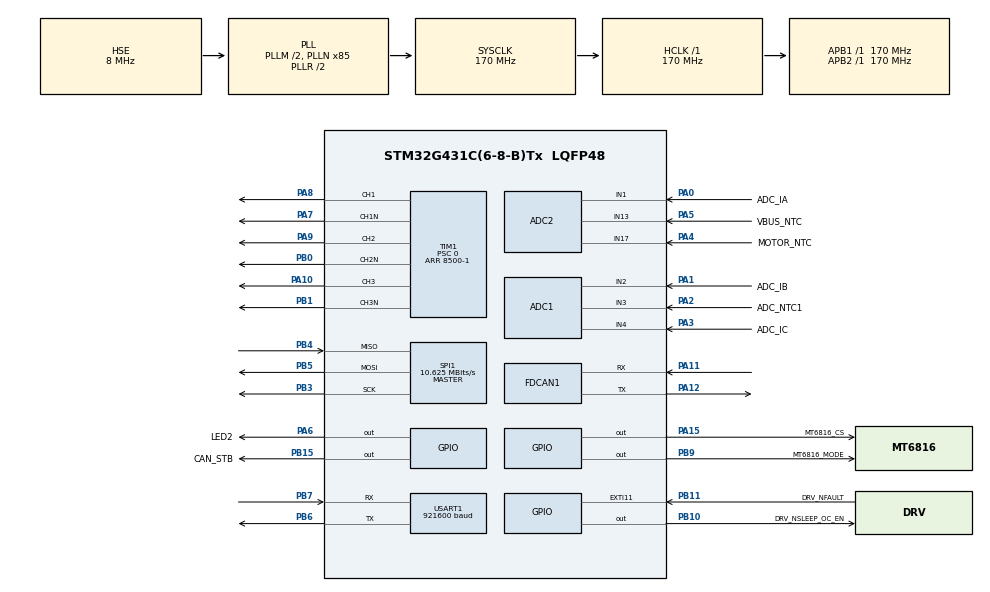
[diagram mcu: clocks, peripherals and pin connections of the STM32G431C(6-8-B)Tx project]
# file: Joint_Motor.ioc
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ADC1.Channel-0\#ChannelRegularConversion=ADC_CHANNEL_3
ADC1.Channel-3\#ChannelRegularConversion=ADC_CHANNEL_4
ADC1.ClockPrescaler=ADC_CLOCK_SYNC_PCLK_DIV4
ADC1.ContinuousConvMode=DISABLE
ADC1.DMAAccessModeView=ENABLE
ADC1.DMAContinuousRequests=ENABLE
ADC1.EOCSelection=ADC_EOC_SEQ_CONV
ADC1.EnableInjectedConversion=ENABLE
ADC1.ExternalTrigConv=ADC_EXTERNALTRIG_T1_TRGO2
ADC1.ExternalTrigConvEdge=ADC_EXTERNALTRIGCONVEDGE_RISING
ADC1.ExternalTrigInjecConv=ADC_EXTERNALTRIGINJEC_T1_CC4
ADC1.ExternalTrigInjecConvEdge=ADC_EXTERNALTRIGINJECCONV_EDGE_FALLING
ADC1.InjNumberOfConversion=2
ADC1.InjectedChannel-1\#ChannelInjectedConversion=ADC_CHANNEL_2
ADC1.InjectedChannel-4\#ChannelInjectedConversion=ADC_CHANNEL_4
ADC1.InjectedOffsetNumber-1\#ChannelInjectedConversion=ADC_OFFSET_NONE
ADC1.InjectedOffsetNumber-4\#ChannelInjectedConversion=ADC_OFFSET_NONE
ADC1.InjectedRank-1\#ChannelInjectedConversion=1
ADC1.InjectedRank-4\#ChannelInjectedConversion=2
ADC1.InjectedSamplingTime-1\#ChannelInjectedConversion=ADC_SAMPLETIME_2CYCLES_5
ADC1.InjectedSamplingTime-4\#ChannelInjectedConversion=ADC_SAMPLETIME_2CYCLES_5
ADC1.Mode=ADC_DUALMODE_REGSIMULT_INJECSIMULT
ADC1.NbrOfConversion=2
ADC1.NbrOfConversionFlag=1
ADC1.OffsetNumber-0\#ChannelRegularConversion=ADC_OFFSET_NONE
ADC1.OffsetNumber-3\#ChannelRegularConversion=ADC_OFFSET_NONE
ADC1.Rank-0\#ChannelRegularConversion=1
ADC1.Rank-3\#ChannelRegularConversion=2
ADC1.Rank2_Channel=ADC_CHANNEL_4
ADC1.SamplingTime-0\#ChannelRegularConversion=ADC_SAMPLETIME_2CYCLES_5
ADC1.SamplingTime-3\#ChannelRegularConversion=ADC_SAMPLETIME_2CYCLES_5
ADC1.master=1
ADC2.Channel-0\#ChannelRegularConversion=ADC_CHANNEL_17
ADC2.Channel-1\#ChannelRegularConversion=ADC_CHANNEL_13
ADC2.ClockPrescaler=ADC_CLOCK_SYNC_PCLK_DIV4
ADC2.DMAAccessModeView=ENABLE
ADC2.DMAContinuousRequests=DISABLE
ADC2.EnableInjectedConversion=ENABLE
ADC2.InjNumberOfConversion=1
ADC2.InjectedChannel-2\#ChannelInjectedConversion=ADC_CHANNEL_1
ADC2.InjectedOffsetNumber-2\#ChannelInjectedConversion=ADC_OFFSET_NONE
ADC2.InjectedRank-2\#ChannelInjectedConversion=1
ADC2.InjectedSamplingTime-2\#ChannelInjectedConversion=ADC_SAMPLETIME_2CYCLES_5
ADC2.LowPowerAutoWait=DISABLE
ADC2.Mode=ADC_DUALMODE_REGSIMULT_INJECSIMULT
ADC2.NbrOfConversion=2
ADC2.NbrOfConversionFlag=1
ADC2.OffsetNumber-0\#ChannelRegularConversion=ADC_OFFSET_NONE
ADC2.OffsetNumber-1\#ChannelRegularConversion=ADC_OFFSET_NONE
ADC2.OversamplingMode=DISABLE
ADC2.Rank-0\#ChannelRegularConversion=1
ADC2.Rank-1\#ChannelRegularConversion=2
ADC2.Rank1_Channel=ADC_CHANNEL_1
ADC2.SamplingTime-0\#ChannelRegularConversion=ADC_SAMPLETIME_2CYCLES_5
ADC2.SamplingTime-1\#ChannelRegularConversion=ADC_SAMPLETIME_2CYCLES_5
Dma.ADC1.0.Direction=DMA_PERIPH_TO_MEMORY
Dma.ADC1.0.EventEnable=DISABLE
Dma.ADC1.0.Instance=DMA1_Channel1
Dma.ADC1.0.MemDataAlignment=DMA_MDATAALIGN_WORD
Dma.ADC1.0.MemInc=DMA_MINC_ENABLE
Dma.ADC1.0.Mode=DMA_CIRCULAR
Dma.ADC1.0.PeriphDataAlignment=DMA_PDATAALIGN_WORD
Dma.ADC1.0.PeriphInc=DMA_PINC_DISABLE
Dma.ADC1.0.Polarity=HAL_DMAMUX_REQ_GEN_RISING
Dma.ADC1.0.Priority=DMA_PRIORITY_LOW
Dma.ADC1.0.RequestNumber=1
Dma.ADC1.0.SignalID=NONE
Dma.ADC1.0.SyncEnable=DISABLE
Dma.ADC1.0.SyncPolarity=HAL_DMAMUX_SYNC_NO_EVENT
Dma.ADC1.0.SyncRequestNumber=1
Dma.ADC1.0.SyncSignalID=NONE
Dma.Request0=ADC1
Dma.Request1=USART1_TX
Dma.USART1_TX.1.Direction=DMA_MEMORY_TO_PERIPH
Dma.USART1_TX.1.EventEnable=DISABLE
Dma.USART1_TX.1.Instance=DMA2_Channel1
Dma.USART1_TX.1.MemDataAlignment=DMA_MDATAALIGN_BYTE
Dma.USART1_TX.1.MemInc=DMA_MINC_ENABLE
Dma.USART1_TX.1.Mode=DMA_NORMAL
Dma.USART1_TX.1.PeriphDataAlignment=DMA_PDATAALIGN_BYTE
Dma.USART1_TX.1.PeriphInc=DMA_PINC_DISABLE
Dma.USART1_TX.1.Polarity=HAL_DMAMUX_REQ_GEN_RISING
Dma.USART1_TX.1.Priority=DMA_PRIORITY_LOW
Dma.USART1_TX.1.RequestNumber=1
Dma.USART1_TX.1.SignalID=NONE
Dma.USART1_TX.1.SyncEnable=DISABLE
Dma.USART1_TX.1.SyncPolarity=HAL_DMAMUX_SYNC_NO_EVENT
Dma.USART1_TX.1.SyncRequestNumber=1
Dma.USART1_TX.1.SyncSignalID=NONE
FDCAN1.CalculateBaudRateNominal=3541666
FDCAN1.CalculateTimeBitNominal=282
FDCAN1.CalculateTimeQuantumNominal=94.11764705882354
Mcu.Family=STM32G4
Mcu.Name=STM32G431C(6-8-B)Tx
Mcu.Package=LQFP48
NVIC.ADC1_2_IRQn=true\:1\:0\:true\:false\:true\:true\:true\:true
NVIC.DMA2_Channel1_IRQn=true\:2\:0\:true\:false\:true\:true\:true\:true
NVIC.EXTI15_10_IRQn=true\:0\:0\:false\:false\:true\:true\:true\:true
NVIC.PriorityGroup=NVIC_PRIORITYGROUP_4
NVIC.USART1_IRQn=true\:2\:0\:true\:false\:true\:true\:true\:true
PA0.GPIO_Label=ADC_IA
PA0.Mode=IN1-Single-Ended
PA0.Signal=ADC2_IN1
PA1.GPIO_Label=ADC_IB
PA1.Mode=IN2-Single-Ended
PA1.Signal=ADC1_IN2
PA10.Signal=S_TIM1_CH3
PA11.Mode=FDCAN_Activate
PA11.Signal=FDCAN1_RX
PA12.Mode=FDCAN_Activate
PA12.Signal=FDCAN1_TX
PA13.Mode=Serial_Wire
PA13.Signal=SYS_JTMS-SWDIO
PA14.Mode=Serial_Wire
PA14.Signal=SYS_JTCK-SWCLK
PA15.GPIO_Label=MT6816_CS
PA15.Signal=GPIO_Output
PA2.GPIO_Label=ADC_NTC1
PA2.Mode=IN3-Single-Ended
PA2.Signal=ADC1_IN3
PA3.GPIO_Label=ADC_IC
PA3.Mode=IN4-Single-Ended
PA3.Signal=ADC1_IN4
PA4.GPIO_Label=MOTOR_NTC
PA4.Mode=IN17-Single-Ended
PA4.Signal=ADC2_IN17
PA5.GPIO_Label=VBUS_NTC
PA5.Mode=IN13-Single-Ended
PA5.Signal=ADC2_IN13
PA6.GPIO_Label=LED2
PA6.Signal=GPIO_Output
PA7.Mode=PWM Generation1 CH1 CH1N
PA7.Signal=TIM1_CH1N
PA8.Signal=S_TIM1_CH1
PA9.Signal=S_TIM1_CH2
PB0.Mode=PWM Generation2 CH2 CH2N
PB0.Signal=TIM1_CH2N
PB1.Mode=PWM Generation3 CH3 CH3N
PB1.Signal=TIM1_CH3N
PB10.GPIO_Label=DRV_NSLEEP_OC_EN
PB10.Signal=GPIO_Output
PB11.GPIO_Label=DRV_NFAULT
PB11.GPIO_ModeDefaultEXTI=GPIO_MODE_IT_FALLING
PB11.Signal=GPXTI11
PB15.GPIO_Label=CAN_STB
PB15.Signal=GPIO_Output
PB3.Mode=Full_Duplex_Master
PB3.Signal=SPI1_SCK
PB4.Mode=Full_Duplex_Master
PB4.Signal=SPI1_MISO
PB5.Mode=Full_Duplex_Master
PB5.Signal=SPI1_MOSI
PB6.Mode=Asynchronous
PB6.Signal=USART1_TX
PB7.Mode=Asynchronous
PB7.Signal=USART1_RX
PB9.GPIO_Label=MT6816_MODE
PB9.Signal=GPIO_Output
PF0-OSC_IN.Mode=HSE-External-Oscillator
PF0-OSC_IN.Signal=RCC_OSC_IN
PF1-OSC_OUT.Mode=HSE-External-Oscillator
PF1-OSC_OUT.Signal=RCC_OSC_OUT
ProjectManager.HeapSize=0x200
ProjectManager.StackSize=0x400
ProjectManager.TargetToolchain=CMake
RCC.ADC12Freq_Value=170000000
RCC.AHBFreq_Value=170000000
RCC.APB1Freq_Value=170000000
RCC.APB1TimFreq_Value=170000000
RCC.APB2Freq_Value=170000000
RCC.APB2TimFreq_Value=170000000
RCC.CortexFreq_Value=170000000
RCC.EXTERNAL_CLOCK_VALUE=12288000
RCC.HCLKFreq_Value=170000000
RCC.HSE_VALUE=8000000
RCC.HSI48_VALUE=48000000
RCC.HSI_VALUE=16000000
RCC.LSE_VALUE=32768
RCC.PLLM=RCC_PLLM_DIV2
RCC.PLLN=85
RCC.PLLSourceVirtual=RCC_PLLSOURCE_HSE
RCC.SYSCLKFreq_VALUE=170000000
RCC.SYSCLKSource=RCC_SYSCLKSOURCE_PLLCLK
RCC.USBFreq_Value=170000000
RCC.VCOOutputFreq_Value=340000000
SH.S_TIM1_CH1.0=TIM1_CH1,PWM Generation1 CH1 CH1N
SH.S_TIM1_CH2.0=TIM1_CH2,PWM Generation2 CH2 CH2N
SH.S_TIM1_CH3.0=TIM1_CH3,PWM Generation3 CH3 CH3N
SPI1.BaudRatePrescaler=SPI_BAUDRATEPRESCALER_16
SPI1.CLKPhase=SPI_PHASE_2EDGE
SPI1.CLKPolarity=SPI_POLARITY_HIGH
SPI1.CalculateBaudRate=10.625 MBits/s
SPI1.DataSize=SPI_DATASIZE_8BIT
SPI1.Direction=SPI_DIRECTION_2LINES
SPI1.Mode=SPI_MODE_MASTER
SPI1.TIMode=SPI_TIMODE_DISABLE
SPI1.VirtualType=VM_MASTER
TIM1.AsymmetricalDeadTime=DISABLE
TIM1.AutoReloadPreload=TIM_AUTORELOAD_PRELOAD_DISABLE
TIM1.AutomaticOutput=TIM_AUTOMATICOUTPUT_ENABLE
TIM1.Break2Filter=0
TIM1.Break2Polarity=TIM_BREAK2POLARITY_HIGH
TIM1.Break2State=TIM_BREAK2_DISABLE
TIM1.Channel-PWM\ Generation1\ CH1\ CH1N=TIM_CHANNEL_1
TIM1.Channel-PWM\ Generation2\ CH2\ CH2N=TIM_CHANNEL_2
TIM1.Channel-PWM\ Generation3\ CH3\ CH3N=TIM_CHANNEL_3
TIM1.Channel-PWM\ Generation4\ No\ Output=TIM_CHANNEL_4
TIM1.Channel-PWM\ Generation5\ No\ Output=TIM_CHANNEL_5
TIM1.CounterMode=TIM_COUNTERMODE_CENTERALIGNED3
TIM1.DeadTime=34-1
TIM1.DeadTimePreload=DISABLE
TIM1.LockLevel=TIM_LOCKLEVEL_OFF
TIM1.OCNPolarity_1=TIM_OCNPOLARITY_HIGH
TIM1.OCNPolarity_2=TIM_OCNPOLARITY_HIGH
TIM1.OCNPolarity_3=TIM_OCNPOLARITY_HIGH
TIM1.OffStateIDLEMode=TIM_OSSI_DISABLE
TIM1.OffStateRunMode=TIM_OSSR_DISABLE
TIM1.PeriodNoDither=8500-1
TIM1.Prescaler=0
TIM1.PulseNoDither_1=0
TIM1.PulseNoDither_2=0
TIM1.PulseNoDither_3=0
TIM1.PulseNoDither_4=8500-40
TIM1.PulseNoDither_5=1
TIM1.TIM_MasterOutputTrigger=TIM_TRGO_UPDATE
TIM1.TIM_MasterOutputTrigger2=TIM_TRGO2_OC5REF
USART1.BaudRate=921600
USART1.VirtualMode-Asynchronous=VM_ASYNC
VP_SYS_VS_DBSignals.Mode=DisableDeadBatterySignals
VP_TIM1_VS_ClockSourceINT.Mode=Internal
VP_TIM1_VS_no_output4.Mode=PWM Generation4 No Output
VP_TIM1_VS_no_output5.Mode=PWM Generation5 No Output
board=custom

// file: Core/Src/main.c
/* USER CODE BEGIN Header */
/**
  ******************************************************************************
  * @file           : main.c
  * @brief          : Main program body
  ******************************************************************************
  * @attention
  *
  * Copyright (c) 2026 STMicroelectronics.
  * All rights reserved.
  *
  * This software is licensed under terms that can be found in the LICENSE file
  * in the root directory of this software component.
  * If no LICENSE file comes with this software, it is provided AS-IS.
  *
  ******************************************************************************
  */
/* USER CODE END Header */
#include "main.h"
#include "adc.h"
#include "dma.h"
#include "fdcan.h"
#include "spi.h"
#include "tim.h"
#include "usart.h"
#include "gpio.h"

/* USER CODE BEGIN Includes */
#include "vofa.h"
#include "encoder.h"
#include "adc_sampling.h"
/* USER CODE END Includes */

/* USER CODE BEGIN PV */

static uint32_t vofa_last_tick = 0U;

/* USER CODE END PV */

void SystemClock_Config(void);

int main(void)
{

  /* MCU Configuration--------------------------------------------------------*/

  /* Reset of all peripherals, Initializes the Flash interface and the Systick. */
  HAL_Init();

  /* Configure the system clock */
  SystemClock_Config();

  /* Initialize all configured peripherals */
  MX_GPIO_Init();
  MX_DMA_Init();
  MX_ADC1_Init();
  MX_ADC2_Init();
  MX_FDCAN1_Init();
  MX_SPI1_Init();
  MX_TIM1_Init();
  MX_USART1_UART_Init();
  /* USER CODE BEGIN 2 */

  /* 保持功率驱动关闭 */
  HAL_GPIO_WritePin(DRV_NSLEEP_OC_EN_GPIO_Port,
                    DRV_NSLEEP_OC_EN_Pin,
                    GPIO_PIN_RESET);

  /* 编码器暂不通信，片选保持无效 */
  HAL_GPIO_WritePin(MT6816_CS_GPIO_Port,
                    MT6816_CS_Pin,
                    GPIO_PIN_SET);

  /* 按教程要求选择SPI功能 */
  HAL_GPIO_WritePin(MT6816_MODE_GPIO_Port,
                    MT6816_MODE_Pin,
                    GPIO_PIN_SET);

  /* 给编码器留出上电准备时间 */
  HAL_Delay(20);

  if (ADC_Sampling_Start() != HAL_OK)
  {
      Error_Handler();
  }
  /* USER CODE END 2 */

  /* Infinite loop */
  while (1)
  {

    /* USER CODE BEGIN 3 */
    uint32_t now = HAL_GetTick();

    if ((uint32_t)(now - vofa_last_tick) >= 10U)
    {
        vofa_last_tick = now;

        ADC_CurrentData_t sample;
        ADC_Sampling_GetCurrent(&sample);

        float data[4] =
        {
            sample.u_amp,
            sample.v_amp,
            sample.w_amp,
            (float)sample.ready
        };

        (void)VOFA_SendFloatArray_DMA(data, 4U);
    }
  }
  /* USER CODE END 3 */
}

void SystemClock_Config(void)
{
  RCC_OscInitTypeDef RCC_OscInitStruct = {0};
  RCC_ClkInitTypeDef RCC_ClkInitStruct = {0};

  /** Configure the main internal regulator output voltage
  */
  HAL_PWREx_ControlVoltageScaling(PWR_REGULATOR_VOLTAGE_SCALE1_BOOST);

  /** Initializes the RCC Oscillators according to the specified parameters
  * in the RCC_OscInitTypeDef structure.
  */
  RCC_OscInitStruct.OscillatorType = RCC_OSCILLATORTYPE_HSE;
  RCC_OscInitStruct.HSEState = RCC_HSE_ON;
  RCC_OscInitStruct.PLL.PLLState = RCC_PLL_ON;
  RCC_OscInitStruct.PLL.PLLSource = RCC_PLLSOURCE_HSE;
  RCC_OscInitStruct.PLL.PLLM = RCC_PLLM_DIV2;
  RCC_OscInitStruct.PLL.PLLN = 85;
  RCC_OscInitStruct.PLL.PLLP = RCC_PLLP_DIV2;
  RCC_OscInitStruct.PLL.PLLQ = RCC_PLLQ_DIV2;
  RCC_OscInitStruct.PLL.PLLR = RCC_PLLR_DIV2;
  if (HAL_RCC_OscConfig(&RCC_OscInitStruct) != HAL_OK)
  {
    Error_Handler();
  }

  /** Initializes the CPU, AHB and APB buses clocks
  */
  RCC_ClkInitStruct.ClockType = RCC_CLOCKTYPE_HCLK|RCC_CLOCKTYPE_SYSCLK
                              |RCC_CLOCKTYPE_PCLK1|RCC_CLOCKTYPE_PCLK2;
  RCC_ClkInitStruct.SYSCLKSource = RCC_SYSCLKSOURCE_PLLCLK;
  RCC_ClkInitStruct.AHBCLKDivider = RCC_SYSCLK_DIV1;
  RCC_ClkInitStruct.APB1CLKDivider = RCC_HCLK_DIV1;
  RCC_ClkInitStruct.APB2CLKDivider = RCC_HCLK_DIV1;

  if (HAL_RCC_ClockConfig(&RCC_ClkInitStruct, FLASH_LATENCY_4) != HAL_OK)
  {
    Error_Handler();
  }
}

void Error_Handler(void)
{
  __disable_irq();
  while (1)
  {
  }
}
